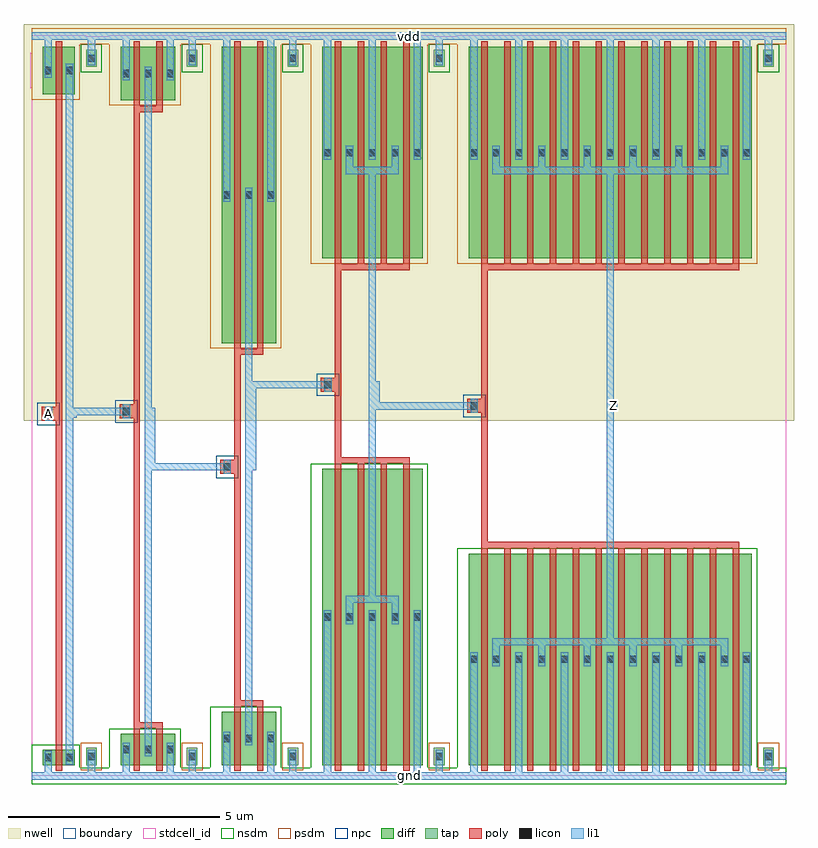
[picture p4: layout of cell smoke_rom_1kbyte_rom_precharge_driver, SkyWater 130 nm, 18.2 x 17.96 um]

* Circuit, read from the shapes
.subckt smoke_rom_1kbyte_rom_precharge_driver A Z gnd vdd
XM1 smoke_rom_1kbyte_pinv_3_1/A A gnd gnd sky130_fd_pr__nfet_01v8 w=0.36 l=0.15
XM2 smoke_rom_1kbyte_pinv_4_2/A smoke_rom_1kbyte_pinv_3_1/A gnd gnd sky130_fd_pr__nfet_01v8 w=0.74 l=0.15 m=2
XM3 smoke_rom_1kbyte_pinv_5_3/A smoke_rom_1kbyte_pinv_4_2/A gnd gnd sky130_fd_pr__nfet_01v8 w=1.26 l=0.15 m=2
XM4 smoke_rom_1kbyte_pinv_6_4/A smoke_rom_1kbyte_pinv_5_3/A gnd gnd sky130_fd_pr__nfet_01v8 w=7 l=0.15 m=4
XM5 Z smoke_rom_1kbyte_pinv_6_4/A gnd gnd sky130_fd_pr__nfet_01v8 w=5 l=0.15 m=12
XM6 smoke_rom_1kbyte_pinv_3_1/A A vdd vdd sky130_fd_pr__pfet_01v8 w=1.12 l=0.15
XM7 smoke_rom_1kbyte_pinv_4_2/A smoke_rom_1kbyte_pinv_3_1/A vdd vdd sky130_fd_pr__pfet_01v8 w=1.26 l=0.15 m=2
XM8 smoke_rom_1kbyte_pinv_5_3/A smoke_rom_1kbyte_pinv_4_2/A vdd vdd sky130_fd_pr__pfet_01v8 w=7 l=0.15 m=2
XM9 smoke_rom_1kbyte_pinv_6_4/A smoke_rom_1kbyte_pinv_5_3/A vdd vdd sky130_fd_pr__pfet_01v8 w=5 l=0.15 m=4
XM10 Z smoke_rom_1kbyte_pinv_6_4/A vdd vdd sky130_fd_pr__pfet_01v8 w=5 l=0.15 m=12
.ends

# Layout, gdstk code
import gdstk
lib = gdstk.Library(unit=1e-6, precision=1e-09)
def R(c, l, rs):  # rectangles x0, y0, x1, y1
    for r in rs: c.add(gdstk.rectangle(r[:2], r[2:], *l))
def A(c, l, x, y, w, h, nx, ny, dx, dy):  # array of equal rectangles
    R(c, l, [(x+i*dx, y+j*dy, x+i*dx+w, y+j*dy+h) for i in range(nx) for j in range(ny)])
nwell = (64, 20)
diff = (65, 20)
tap = (65, 44)
poly = (66, 20)
licon = (66, 44)
li1 = (67, 20)
stdcell_id = (81, 4)
nsdm = (93, 44)
psdm = (94, 20)
npc = (95, 20)
boundary = (235, 4)

smoke_rom_1kbyte_contact = lib.new_cell('smoke_rom_1kbyte_contact_10')
R(smoke_rom_1kbyte_contact, nwell, [(-0.295,-0.255,0.545,0.585)])
R(smoke_rom_1kbyte_contact, diff, [(0,0.02,0.25,0.31)])
R(smoke_rom_1kbyte_contact, licon, [(0.04,0.08,0.21,0.25)])
R(smoke_rom_1kbyte_contact, li1, [(0.04,0,0.21,0.33)])
R(smoke_rom_1kbyte_contact, stdcell_id, [(-0.295,-0.255,0.545,0.585)])
R(smoke_rom_1kbyte_contact, psdm, [(-0.125,-0.105,0.375,0.435)])
R(smoke_rom_1kbyte_contact, boundary, [(-0.295,-0.255,0.545,0.585)])

smoke_rom_1kbyte_pmos_m1 = lib.new_cell('smoke_rom_1kbyte_pmos_m1_w1_120_sli_dli_da_p')
R(smoke_rom_1kbyte_pmos_m1, nwell, [(-0.27,-0.27,1.02,1.39)])
R(smoke_rom_1kbyte_pmos_m1, diff, [(0,0,0.75,1.12)])
R(smoke_rom_1kbyte_pmos_m1, poly, [(0.3,-0.13,0.45,1.25), (0.3,-0.13,0.45,1.25)])
R(smoke_rom_1kbyte_pmos_m1, li1, [(0.04,0.395,0.21,0.725), (0.54,0.395,0.71,0.725)])
R(smoke_rom_1kbyte_pmos_m1, stdcell_id, [(-0.27,-0.27,1.02,1.39)])
R(smoke_rom_1kbyte_pmos_m1, psdm, [(-0.125,-0.125,0.875,1.245)])
R(smoke_rom_1kbyte_pmos_m1, boundary, [(-0.27,-0.27,1.02,1.39)])
smoke_rom_1kbyte_pmos_m1.add(gdstk.Reference(smoke_rom_1kbyte_contact, (0,0.395)))
smoke_rom_1kbyte_pmos_m1.add(gdstk.Reference(smoke_rom_1kbyte_contact, (0.5,0.395)))
smoke_rom_1kbyte_pmos_m1.add(gdstk.Label('G', (0.375,0.56), layer=66, texttype=5))
smoke_rom_1kbyte_pmos_m1.add(gdstk.Label('S', (0.125,0.56), layer=67, texttype=5))
smoke_rom_1kbyte_pmos_m1.add(gdstk.Label('D', (0.625,0.56), layer=67, texttype=5))

c_smoke_rom_1kbyte_contact = lib.new_cell('smoke_rom_1kbyte_contact_8')
R(c_smoke_rom_1kbyte_contact, diff, [(0,0.02,0.25,0.31)])
R(c_smoke_rom_1kbyte_contact, licon, [(0.04,0.08,0.21,0.25)])
R(c_smoke_rom_1kbyte_contact, li1, [(0.04,0,0.21,0.33)])
R(c_smoke_rom_1kbyte_contact, stdcell_id, [(-0.125,-0.105,0.375,0.435)])
R(c_smoke_rom_1kbyte_contact, nsdm, [(-0.125,-0.105,0.375,0.435)])
R(c_smoke_rom_1kbyte_contact, boundary, [(-0.125,-0.105,0.375,0.435)])

smoke_rom_1kbyte_nmos_m1 = lib.new_cell('smoke_rom_1kbyte_nmos_m1_w0_360_sli_dli_da_p')
R(smoke_rom_1kbyte_nmos_m1, diff, [(0,0,0.75,0.36)])
R(smoke_rom_1kbyte_nmos_m1, poly, [(0.3,-0.13,0.45,0.49), (0.3,-0.13,0.45,0.49)])
R(smoke_rom_1kbyte_nmos_m1, li1, [(0.04,0.015,0.21,0.345), (0.54,0.015,0.71,0.345)])
R(smoke_rom_1kbyte_nmos_m1, stdcell_id, [(-0.125,-0.13,0.875,0.49)])
R(smoke_rom_1kbyte_nmos_m1, nsdm, [(-0.125,-0.125,0.875,0.485)])
R(smoke_rom_1kbyte_nmos_m1, boundary, [(-0.125,-0.13,0.875,0.49)])
smoke_rom_1kbyte_nmos_m1.add(gdstk.Reference(c_smoke_rom_1kbyte_contact, (0,0.015)))
smoke_rom_1kbyte_nmos_m1.add(gdstk.Reference(c_smoke_rom_1kbyte_contact, (0.5,0.015)))
smoke_rom_1kbyte_nmos_m1.add(gdstk.Label('G', (0.375,0.18), layer=66, texttype=5))
smoke_rom_1kbyte_nmos_m1.add(gdstk.Label('S', (0.125,0.18), layer=67, texttype=5))
smoke_rom_1kbyte_nmos_m1.add(gdstk.Label('D', (0.625,0.18), layer=67, texttype=5))

c_smoke_rom_1kbyte_contact_ = lib.new_cell('smoke_rom_1kbyte_contact_26')
R(c_smoke_rom_1kbyte_contact_, nwell, [(-0.295,-0.215,0.545,0.625)])
R(c_smoke_rom_1kbyte_contact_, tap, [(0,0,0.25,0.41)])
R(c_smoke_rom_1kbyte_contact_, licon, [(0.04,0.12,0.21,0.29)])
R(c_smoke_rom_1kbyte_contact_, li1, [(0.04,0.04,0.21,0.37)])
R(c_smoke_rom_1kbyte_contact_, stdcell_id, [(-0.295,-0.215,0.545,0.625)])
R(c_smoke_rom_1kbyte_contact_, nsdm, [(-0.125,-0.125,0.375,0.535)])
R(c_smoke_rom_1kbyte_contact_, boundary, [(-0.295,-0.215,0.545,0.625)])

c_smoke_rom_1kbyte_contact__ = lib.new_cell('smoke_rom_1kbyte_contact_27')
R(c_smoke_rom_1kbyte_contact__, tap, [(0,0,0.25,0.41)])
R(c_smoke_rom_1kbyte_contact__, licon, [(0.04,0.12,0.21,0.29)])
R(c_smoke_rom_1kbyte_contact__, li1, [(0.04,0.04,0.21,0.37)])
R(c_smoke_rom_1kbyte_contact__, stdcell_id, [(-0.125,-0.125,0.375,0.535)])
R(c_smoke_rom_1kbyte_contact__, psdm, [(-0.125,-0.125,0.375,0.535)])
R(c_smoke_rom_1kbyte_contact__, boundary, [(-0.125,-0.125,0.375,0.535)])

c_smoke_rom_1kbyte_contact___ = lib.new_cell('smoke_rom_1kbyte_contact_11')
R(c_smoke_rom_1kbyte_contact___, poly, [(0,0,0.33,0.33)])
R(c_smoke_rom_1kbyte_contact___, licon, [(0.08,0.08,0.25,0.25)])
R(c_smoke_rom_1kbyte_contact___, li1, [(0.08,0,0.25,0.33)])
R(c_smoke_rom_1kbyte_contact___, stdcell_id, [(-0.1,-0.1,0.43,0.43)])
R(c_smoke_rom_1kbyte_contact___, npc, [(-0.1,-0.1,0.43,0.43)])
R(c_smoke_rom_1kbyte_contact___, boundary, [(-0.1,-0.1,0.43,0.43)])

smoke_rom_1kbyte_pinv = lib.new_cell('smoke_rom_1kbyte_pinv')
R(smoke_rom_1kbyte_pinv, nwell, [(-0.18,8.39,2.02,17.77)])
R(smoke_rom_1kbyte_pinv, poly, [(0.57,0.745,0.72,15.98), (0.405,8.39,0.57,8.72)])
R(smoke_rom_1kbyte_pinv, li1, [(0,-0.085,1.84,0.085), (0.31,-0.085,0.48,0.27), (1.33,0,1.5,0.46), (0.81,0.27,0.98,16.835), (0.32,8.39,0.49,8.72), (0.895,8.47,1.065,8.64), (0.31,16.505,0.48,17.57), (1.33,16.96,1.5,17.48), (0,17.4,1.84,17.57)])
R(smoke_rom_1kbyte_pinv, stdcell_id, [(0,0,1.84,17.48), (0,0,1.84,17.48)])
R(smoke_rom_1kbyte_pinv, nsdm, [(0,-0.19,1.84,0.19), (0,0,1.145,0.74)])
R(smoke_rom_1kbyte_pinv, psdm, [(0,15.985,1.145,17.485), (0,17.29,1.84,17.67)])
R(smoke_rom_1kbyte_pinv, boundary, [(0,0,1.84,17.48), (0,0,1.84,17.48)])
smoke_rom_1kbyte_pinv.add(gdstk.Reference(smoke_rom_1kbyte_pmos_m1, (0.27,16.11)))
smoke_rom_1kbyte_pinv.add(gdstk.Reference(smoke_rom_1kbyte_nmos_m1, (0.27,0.255)))
smoke_rom_1kbyte_pinv.add(gdstk.Reference(c_smoke_rom_1kbyte_contact_, (1.29,16.755)))
smoke_rom_1kbyte_pinv.add(gdstk.Reference(c_smoke_rom_1kbyte_contact__, (1.29,0.255)))
smoke_rom_1kbyte_pinv.add(gdstk.Reference(c_smoke_rom_1kbyte_contact___, (0.24,8.39)))
smoke_rom_1kbyte_pinv.add(gdstk.Label('A', (0.405,8.555), layer=67, texttype=5))
smoke_rom_1kbyte_pinv.add(gdstk.Label('Z', (0.98,8.555), layer=67, texttype=5))
smoke_rom_1kbyte_pinv.add(gdstk.Label('gnd', (0.92,0), layer=67, texttype=5))
smoke_rom_1kbyte_pinv.add(gdstk.Label('vdd', (0.92,17.485), layer=67, texttype=5))

smoke_rom_1kbyte_pmos_m2 = lib.new_cell('smoke_rom_1kbyte_pmos_m2_w1_260_sli_dli_da_p')
R(smoke_rom_1kbyte_pmos_m2, nwell, [(-0.27,-0.27,1.56,1.53)])
R(smoke_rom_1kbyte_pmos_m2, diff, [(0,0,1.29,1.26)])
R(smoke_rom_1kbyte_pmos_m2, poly, [(0.3,-0.28,0.99,-0.13), (0.3,-0.13,0.45,1.39), (0.84,-0.13,0.99,1.39)])
A(smoke_rom_1kbyte_pmos_m2, li1, 0.04, 0.465, 0.17, 0.33, 3, 1, 0.52, 0)
R(smoke_rom_1kbyte_pmos_m2, stdcell_id, [(-0.27,-0.28,1.56,1.53)])
R(smoke_rom_1kbyte_pmos_m2, psdm, [(-0.125,-0.125,1.415,1.385)])
R(smoke_rom_1kbyte_pmos_m2, boundary, [(-0.27,-0.28,1.56,1.53)])
smoke_rom_1kbyte_pmos_m2.add(gdstk.Reference(smoke_rom_1kbyte_contact, (0,0.465)))
smoke_rom_1kbyte_pmos_m2.add(gdstk.Reference(smoke_rom_1kbyte_contact, (0.52,0.465)))
smoke_rom_1kbyte_pmos_m2.add(gdstk.Reference(smoke_rom_1kbyte_contact, (1.04,0.465)))
smoke_rom_1kbyte_pmos_m2.add(gdstk.Label('G', (0.645,-0.205), layer=66, texttype=5))
smoke_rom_1kbyte_pmos_m2.add(gdstk.Label('S', (1.165,0.63), layer=67, texttype=5))
smoke_rom_1kbyte_pmos_m2.add(gdstk.Label('S', (0.125,0.63), layer=67, texttype=5))
smoke_rom_1kbyte_pmos_m2.add(gdstk.Label('D', (0.645,0.63), layer=67, texttype=5))

smoke_rom_1kbyte_nmos_m2 = lib.new_cell('smoke_rom_1kbyte_nmos_m2_w0_740_sli_dli_da_p')
R(smoke_rom_1kbyte_nmos_m2, diff, [(0,0,1.29,0.74)])
R(smoke_rom_1kbyte_nmos_m2, poly, [(0.3,-0.13,0.45,0.87), (0.84,-0.13,0.99,0.87), (0.3,0.87,0.99,1.02)])
A(smoke_rom_1kbyte_nmos_m2, li1, 0.04, 0.205, 0.17, 0.33, 3, 1, 0.52, 0)
R(smoke_rom_1kbyte_nmos_m2, stdcell_id, [(-0.125,-0.13,1.415,1.02)])
R(smoke_rom_1kbyte_nmos_m2, nsdm, [(-0.125,-0.125,1.415,0.865)])
R(smoke_rom_1kbyte_nmos_m2, boundary, [(-0.125,-0.13,1.415,1.02)])
smoke_rom_1kbyte_nmos_m2.add(gdstk.Reference(c_smoke_rom_1kbyte_contact, (0,0.205)))
smoke_rom_1kbyte_nmos_m2.add(gdstk.Reference(c_smoke_rom_1kbyte_contact, (0.52,0.205)))
smoke_rom_1kbyte_nmos_m2.add(gdstk.Reference(c_smoke_rom_1kbyte_contact, (1.04,0.205)))
smoke_rom_1kbyte_nmos_m2.add(gdstk.Label('G', (0.645,0.945), layer=66, texttype=5))
smoke_rom_1kbyte_nmos_m2.add(gdstk.Label('S', (1.165,0.37), layer=67, texttype=5))
smoke_rom_1kbyte_nmos_m2.add(gdstk.Label('S', (0.125,0.37), layer=67, texttype=5))
smoke_rom_1kbyte_nmos_m2.add(gdstk.Label('D', (0.645,0.37), layer=67, texttype=5))

smoke_rom_1kbyte_pinv_3 = lib.new_cell('smoke_rom_1kbyte_pinv_3')
R(smoke_rom_1kbyte_pinv_3, nwell, [(-0.18,8.39,2.56,17.77)])
R(smoke_rom_1kbyte_pinv_3, poly, [(0.57,1.275,0.72,15.69), (0.405,8.45,0.57,8.78)])
R(smoke_rom_1kbyte_pinv_3, li1, [(0,-0.085,2.38,0.085), (0.31,-0.085,0.48,0.46), (1.35,-0.085,1.52,0.46), (1.87,0,2.04,0.46), (0.83,0.46,1,16.765), (0.32,8.45,0.49,8.78), (0.915,8.53,1.085,8.7), (0.31,16.435,0.48,17.57), (1.35,16.435,1.52,17.57), (1.87,16.96,2.04,17.48), (0,17.4,2.38,17.57)])
R(smoke_rom_1kbyte_pinv_3, stdcell_id, [(0,0,2.38,17.48), (0,0,2.38,17.48)])
R(smoke_rom_1kbyte_pinv_3, nsdm, [(0,-0.19,2.38,0.19), (0,0,1.685,1.12)])
R(smoke_rom_1kbyte_pinv_3, psdm, [(0,15.845,1.685,17.485), (0,17.29,2.38,17.67)])
R(smoke_rom_1kbyte_pinv_3, boundary, [(0,0,2.38,17.48), (0,0,2.38,17.48)])
smoke_rom_1kbyte_pinv_3.add(gdstk.Reference(smoke_rom_1kbyte_pmos_m2, (0.27,15.97)))
smoke_rom_1kbyte_pinv_3.add(gdstk.Reference(smoke_rom_1kbyte_nmos_m2, (0.27,0.255)))
smoke_rom_1kbyte_pinv_3.add(gdstk.Reference(c_smoke_rom_1kbyte_contact_, (1.83,16.755)))
smoke_rom_1kbyte_pinv_3.add(gdstk.Reference(c_smoke_rom_1kbyte_contact__, (1.83,0.255)))
smoke_rom_1kbyte_pinv_3.add(gdstk.Reference(c_smoke_rom_1kbyte_contact___, (0.24,8.45)))
smoke_rom_1kbyte_pinv_3.add(gdstk.Label('A', (0.405,8.615), layer=67, texttype=5))
smoke_rom_1kbyte_pinv_3.add(gdstk.Label('Z', (1,8.615), layer=67, texttype=5))
smoke_rom_1kbyte_pinv_3.add(gdstk.Label('gnd', (1.19,0), layer=67, texttype=5))
smoke_rom_1kbyte_pinv_3.add(gdstk.Label('vdd', (1.19,17.485), layer=67, texttype=5))

c_smoke_rom_1kbyte_pmos_m2 = lib.new_cell('smoke_rom_1kbyte_pmos_m2_w7_000_sli_dli_da_p')
R(c_smoke_rom_1kbyte_pmos_m2, nwell, [(-0.27,-0.27,1.56,7.27)])
R(c_smoke_rom_1kbyte_pmos_m2, diff, [(0,0,1.29,7)])
R(c_smoke_rom_1kbyte_pmos_m2, poly, [(0.3,-0.28,0.99,-0.13), (0.3,-0.13,0.45,7.13), (0.84,-0.13,0.99,7.13)])
A(c_smoke_rom_1kbyte_pmos_m2, li1, 0.04, 3.335, 0.17, 0.33, 3, 1, 0.52, 0)
R(c_smoke_rom_1kbyte_pmos_m2, stdcell_id, [(-0.27,-0.28,1.56,7.27)])
R(c_smoke_rom_1kbyte_pmos_m2, psdm, [(-0.125,-0.125,1.415,7.125)])
R(c_smoke_rom_1kbyte_pmos_m2, boundary, [(-0.27,-0.28,1.56,7.27)])
c_smoke_rom_1kbyte_pmos_m2.add(gdstk.Reference(smoke_rom_1kbyte_contact, (0,3.335)))
c_smoke_rom_1kbyte_pmos_m2.add(gdstk.Reference(smoke_rom_1kbyte_contact, (0.52,3.335)))
c_smoke_rom_1kbyte_pmos_m2.add(gdstk.Reference(smoke_rom_1kbyte_contact, (1.04,3.335)))
c_smoke_rom_1kbyte_pmos_m2.add(gdstk.Label('G', (0.645,-0.205), layer=66, texttype=5))
c_smoke_rom_1kbyte_pmos_m2.add(gdstk.Label('S', (1.165,3.5), layer=67, texttype=5))
c_smoke_rom_1kbyte_pmos_m2.add(gdstk.Label('S', (0.125,3.5), layer=67, texttype=5))
c_smoke_rom_1kbyte_pmos_m2.add(gdstk.Label('D', (0.645,3.5), layer=67, texttype=5))

c_smoke_rom_1kbyte_nmos_m2 = lib.new_cell('smoke_rom_1kbyte_nmos_m2_w1_260_sli_dli_da_p')
R(c_smoke_rom_1kbyte_nmos_m2, diff, [(0,0,1.29,1.26)])
R(c_smoke_rom_1kbyte_nmos_m2, poly, [(0.3,-0.13,0.45,1.39), (0.84,-0.13,0.99,1.39), (0.3,1.39,0.99,1.54)])
A(c_smoke_rom_1kbyte_nmos_m2, li1, 0.04, 0.465, 0.17, 0.33, 3, 1, 0.52, 0)
R(c_smoke_rom_1kbyte_nmos_m2, stdcell_id, [(-0.125,-0.13,1.415,1.54)])
R(c_smoke_rom_1kbyte_nmos_m2, nsdm, [(-0.125,-0.125,1.415,1.385)])
R(c_smoke_rom_1kbyte_nmos_m2, boundary, [(-0.125,-0.13,1.415,1.54)])
c_smoke_rom_1kbyte_nmos_m2.add(gdstk.Reference(c_smoke_rom_1kbyte_contact, (0,0.465)))
c_smoke_rom_1kbyte_nmos_m2.add(gdstk.Reference(c_smoke_rom_1kbyte_contact, (0.52,0.465)))
c_smoke_rom_1kbyte_nmos_m2.add(gdstk.Reference(c_smoke_rom_1kbyte_contact, (1.04,0.465)))
c_smoke_rom_1kbyte_nmos_m2.add(gdstk.Label('G', (0.645,1.465), layer=66, texttype=5))
c_smoke_rom_1kbyte_nmos_m2.add(gdstk.Label('S', (1.165,0.63), layer=67, texttype=5))
c_smoke_rom_1kbyte_nmos_m2.add(gdstk.Label('S', (0.125,0.63), layer=67, texttype=5))
c_smoke_rom_1kbyte_nmos_m2.add(gdstk.Label('D', (0.645,0.63), layer=67, texttype=5))

smoke_rom_1kbyte_pinv_4 = lib.new_cell('smoke_rom_1kbyte_pinv_4')
R(smoke_rom_1kbyte_pinv_4, nwell, [(-0.18,8.39,2.56,17.77)])
R(smoke_rom_1kbyte_pinv_4, poly, [(0.57,1.795,0.72,9.95), (0.405,7.14,0.57,7.47)])
R(smoke_rom_1kbyte_pinv_4, li1, [(0,-0.085,2.38,0.085), (0.31,-0.085,0.48,0.72), (1.35,-0.085,1.52,0.72), (1.87,0,2.04,0.46), (0.83,0.72,1,13.895), (0.32,7.14,0.49,7.47), (0.915,7.22,1.085,7.39), (0.31,13.565,0.48,17.57), (1.35,13.565,1.52,17.57), (1.87,16.96,2.04,17.48), (0,17.4,2.38,17.57)])
R(smoke_rom_1kbyte_pinv_4, stdcell_id, [(0,0,2.38,17.48), (0,0,2.38,17.48)])
R(smoke_rom_1kbyte_pinv_4, nsdm, [(0,-0.19,2.38,0.19), (0,0,1.685,1.64)])
R(smoke_rom_1kbyte_pinv_4, psdm, [(0,10.105,1.685,17.485), (0,17.29,2.38,17.67)])
R(smoke_rom_1kbyte_pinv_4, boundary, [(0,0,2.38,17.48), (0,0,2.38,17.48)])
smoke_rom_1kbyte_pinv_4.add(gdstk.Reference(c_smoke_rom_1kbyte_pmos_m2, (0.27,10.23)))
smoke_rom_1kbyte_pinv_4.add(gdstk.Reference(c_smoke_rom_1kbyte_nmos_m2, (0.27,0.255)))
smoke_rom_1kbyte_pinv_4.add(gdstk.Reference(c_smoke_rom_1kbyte_contact_, (1.83,16.755)))
smoke_rom_1kbyte_pinv_4.add(gdstk.Reference(c_smoke_rom_1kbyte_contact__, (1.83,0.255)))
smoke_rom_1kbyte_pinv_4.add(gdstk.Reference(c_smoke_rom_1kbyte_contact___, (0.24,7.14)))
smoke_rom_1kbyte_pinv_4.add(gdstk.Label('A', (0.405,7.305), layer=67, texttype=5))
smoke_rom_1kbyte_pinv_4.add(gdstk.Label('Z', (1,7.305), layer=67, texttype=5))
smoke_rom_1kbyte_pinv_4.add(gdstk.Label('gnd', (1.19,0), layer=67, texttype=5))
smoke_rom_1kbyte_pinv_4.add(gdstk.Label('vdd', (1.19,17.485), layer=67, texttype=5))

smoke_rom_1kbyte_pmos_m4 = lib.new_cell('smoke_rom_1kbyte_pmos_m4_w5_000_sli_dli_da_p')
R(smoke_rom_1kbyte_pmos_m4, nwell, [(-0.27,-0.27,2.64,5.27)])
R(smoke_rom_1kbyte_pmos_m4, diff, [(0,0,2.37,5)])
A(smoke_rom_1kbyte_pmos_m4, poly, 0.3, -0.13, 0.15, 5.26, 4, 1, 0.54, 0)
R(smoke_rom_1kbyte_pmos_m4, poly, [(0.3,-0.28,2.07,-0.13)])
A(smoke_rom_1kbyte_pmos_m4, li1, 0.04, 2.335, 0.17, 0.33, 3, 1, 1.06, 0)
R(smoke_rom_1kbyte_pmos_m4, li1, [(0.56,1.995,1.81,2.165), (0.56,2.08,0.73,2.5), (1.64,2.08,1.81,2.5)])
R(smoke_rom_1kbyte_pmos_m4, stdcell_id, [(-0.27,-0.28,2.64,5.27)])
R(smoke_rom_1kbyte_pmos_m4, psdm, [(-0.125,-0.125,2.495,5.125)])
R(smoke_rom_1kbyte_pmos_m4, boundary, [(-0.27,-0.28,2.64,5.27)])
smoke_rom_1kbyte_pmos_m4.add(gdstk.Reference(smoke_rom_1kbyte_contact, (0,2.335)))
smoke_rom_1kbyte_pmos_m4.add(gdstk.Reference(smoke_rom_1kbyte_contact, (0.52,2.335)))
smoke_rom_1kbyte_pmos_m4.add(gdstk.Reference(smoke_rom_1kbyte_contact, (1.06,2.335)))
smoke_rom_1kbyte_pmos_m4.add(gdstk.Reference(smoke_rom_1kbyte_contact, (1.6,2.335)))
smoke_rom_1kbyte_pmos_m4.add(gdstk.Reference(smoke_rom_1kbyte_contact, (2.12,2.335)))
smoke_rom_1kbyte_pmos_m4.add(gdstk.Label('G', (1.185,-0.205), layer=66, texttype=5))
smoke_rom_1kbyte_pmos_m4.add(gdstk.Label('S', (1.185,2.5), layer=67, texttype=5))
smoke_rom_1kbyte_pmos_m4.add(gdstk.Label('S', (2.245,2.5), layer=67, texttype=5))
smoke_rom_1kbyte_pmos_m4.add(gdstk.Label('S', (0.125,2.5), layer=67, texttype=5))
smoke_rom_1kbyte_pmos_m4.add(gdstk.Label('D', (1.185,2.08), layer=67, texttype=5))

smoke_rom_1kbyte_nmos_m4 = lib.new_cell('smoke_rom_1kbyte_nmos_m4_w7_000_sli_dli_da_p')
R(smoke_rom_1kbyte_nmos_m4, diff, [(0,0,2.37,7)])
A(smoke_rom_1kbyte_nmos_m4, poly, 0.3, -0.13, 0.15, 7.26, 4, 1, 0.54, 0)
R(smoke_rom_1kbyte_nmos_m4, poly, [(0.3,7.13,2.07,7.28)])
A(smoke_rom_1kbyte_nmos_m4, li1, 0.04, 3.335, 0.17, 0.33, 3, 1, 1.06, 0)
R(smoke_rom_1kbyte_nmos_m4, li1, [(0.56,3.5,0.73,3.92), (1.64,3.5,1.81,3.92), (0.56,3.835,1.81,4.005)])
R(smoke_rom_1kbyte_nmos_m4, stdcell_id, [(-0.125,-0.13,2.495,7.28)])
R(smoke_rom_1kbyte_nmos_m4, nsdm, [(-0.125,-0.125,2.495,7.125)])
R(smoke_rom_1kbyte_nmos_m4, boundary, [(-0.125,-0.13,2.495,7.28)])
smoke_rom_1kbyte_nmos_m4.add(gdstk.Reference(c_smoke_rom_1kbyte_contact, (0,3.335)))
smoke_rom_1kbyte_nmos_m4.add(gdstk.Reference(c_smoke_rom_1kbyte_contact, (0.52,3.335)))
smoke_rom_1kbyte_nmos_m4.add(gdstk.Reference(c_smoke_rom_1kbyte_contact, (1.06,3.335)))
smoke_rom_1kbyte_nmos_m4.add(gdstk.Reference(c_smoke_rom_1kbyte_contact, (1.6,3.335)))
smoke_rom_1kbyte_nmos_m4.add(gdstk.Reference(c_smoke_rom_1kbyte_contact, (2.12,3.335)))
smoke_rom_1kbyte_nmos_m4.add(gdstk.Label('G', (1.185,7.205), layer=66, texttype=5))
smoke_rom_1kbyte_nmos_m4.add(gdstk.Label('S', (2.245,3.5), layer=67, texttype=5))
smoke_rom_1kbyte_nmos_m4.add(gdstk.Label('S', (1.185,3.5), layer=67, texttype=5))
smoke_rom_1kbyte_nmos_m4.add(gdstk.Label('S', (0.125,3.5), layer=67, texttype=5))
smoke_rom_1kbyte_nmos_m4.add(gdstk.Label('D', (1.185,3.92), layer=67, texttype=5))

smoke_rom_1kbyte_pinv_5 = lib.new_cell('smoke_rom_1kbyte_pinv_5')
R(smoke_rom_1kbyte_pinv_5, nwell, [(-0.18,8.39,3.64,17.77)])
R(smoke_rom_1kbyte_pinv_5, poly, [(0.57,7.535,0.72,11.95), (0.405,9.08,0.57,9.41)])
A(smoke_rom_1kbyte_pinv_5, li1, 0.31, -0.085, 0.17, 3.675, 3, 1, 1.06, 0)
A(smoke_rom_1kbyte_pinv_5, li1, 0.31, 14.565, 0.17, 3.005, 3, 1, 1.06, 0)
R(smoke_rom_1kbyte_pinv_5, li1, [(0,-0.085,3.46,0.085), (2.95,0,3.12,0.46), (1.37,4.09,1.54,14.395), (0.32,9.08,0.49,9.41), (1.455,9.16,1.625,9.33), (2.95,16.96,3.12,17.48), (0,17.4,3.46,17.57)])
R(smoke_rom_1kbyte_pinv_5, stdcell_id, [(0,0,3.46,17.48), (0,0,3.46,17.48)])
R(smoke_rom_1kbyte_pinv_5, nsdm, [(0,-0.19,3.46,0.19), (0,0,2.765,7.38)])
R(smoke_rom_1kbyte_pinv_5, psdm, [(0,12.105,2.765,17.485), (0,17.29,3.46,17.67)])
R(smoke_rom_1kbyte_pinv_5, boundary, [(0,0,3.46,17.48), (0,0,3.46,17.48)])
smoke_rom_1kbyte_pinv_5.add(gdstk.Reference(smoke_rom_1kbyte_pmos_m4, (0.27,12.23)))
smoke_rom_1kbyte_pinv_5.add(gdstk.Reference(smoke_rom_1kbyte_nmos_m4, (0.27,0.255)))
smoke_rom_1kbyte_pinv_5.add(gdstk.Reference(c_smoke_rom_1kbyte_contact_, (2.91,16.755)))
smoke_rom_1kbyte_pinv_5.add(gdstk.Reference(c_smoke_rom_1kbyte_contact__, (2.91,0.255)))
smoke_rom_1kbyte_pinv_5.add(gdstk.Reference(c_smoke_rom_1kbyte_contact___, (0.24,9.08)))
smoke_rom_1kbyte_pinv_5.add(gdstk.Label('A', (0.405,9.245), layer=67, texttype=5))
smoke_rom_1kbyte_pinv_5.add(gdstk.Label('Z', (1.54,9.245), layer=67, texttype=5))
smoke_rom_1kbyte_pinv_5.add(gdstk.Label('gnd', (1.73,0), layer=67, texttype=5))
smoke_rom_1kbyte_pinv_5.add(gdstk.Label('vdd', (1.73,17.485), layer=67, texttype=5))

c_smoke_rom_1kbyte_pmos_m1 = lib.new_cell('smoke_rom_1kbyte_pmos_m12_w5_000_sli_dli_da_p')
R(c_smoke_rom_1kbyte_pmos_m1, nwell, [(-0.27,-0.27,6.96,5.27)])
R(c_smoke_rom_1kbyte_pmos_m1, diff, [(0,0,6.69,5)])
A(c_smoke_rom_1kbyte_pmos_m1, poly, 0.3, -0.13, 0.15, 5.26, 12, 1, 0.54, 0)
R(c_smoke_rom_1kbyte_pmos_m1, poly, [(0.3,-0.28,6.39,-0.13)])
A(c_smoke_rom_1kbyte_pmos_m1, li1, 0.56, 2.08, 0.17, 0.42, 6, 1, 1.08, 0)
A(c_smoke_rom_1kbyte_pmos_m1, li1, 1.1, 2.335, 0.17, 0.33, 5, 1, 1.08, 0)
R(c_smoke_rom_1kbyte_pmos_m1, li1, [(0.56,1.995,6.13,2.165), (0.04,2.335,0.21,2.665), (6.48,2.335,6.65,2.665)])
R(c_smoke_rom_1kbyte_pmos_m1, stdcell_id, [(-0.27,-0.28,6.96,5.27)])
R(c_smoke_rom_1kbyte_pmos_m1, psdm, [(-0.125,-0.125,6.815,5.125)])
R(c_smoke_rom_1kbyte_pmos_m1, boundary, [(-0.27,-0.28,6.96,5.27)])
c_smoke_rom_1kbyte_pmos_m1.add(gdstk.Reference(smoke_rom_1kbyte_contact, (0,2.335)))
c_smoke_rom_1kbyte_pmos_m1.add(gdstk.Reference(smoke_rom_1kbyte_contact, (0.52,2.335)))
c_smoke_rom_1kbyte_pmos_m1.add(gdstk.Reference(smoke_rom_1kbyte_contact, (1.06,2.335)))
c_smoke_rom_1kbyte_pmos_m1.add(gdstk.Reference(smoke_rom_1kbyte_contact, (1.6,2.335)))
c_smoke_rom_1kbyte_pmos_m1.add(gdstk.Reference(smoke_rom_1kbyte_contact, (2.14,2.335)))
c_smoke_rom_1kbyte_pmos_m1.add(gdstk.Reference(smoke_rom_1kbyte_contact, (2.68,2.335)))
c_smoke_rom_1kbyte_pmos_m1.add(gdstk.Reference(smoke_rom_1kbyte_contact, (3.22,2.335)))
c_smoke_rom_1kbyte_pmos_m1.add(gdstk.Reference(smoke_rom_1kbyte_contact, (3.76,2.335)))
c_smoke_rom_1kbyte_pmos_m1.add(gdstk.Reference(smoke_rom_1kbyte_contact, (4.3,2.335)))
c_smoke_rom_1kbyte_pmos_m1.add(gdstk.Reference(smoke_rom_1kbyte_contact, (4.84,2.335)))
c_smoke_rom_1kbyte_pmos_m1.add(gdstk.Reference(smoke_rom_1kbyte_contact, (5.38,2.335)))
c_smoke_rom_1kbyte_pmos_m1.add(gdstk.Reference(smoke_rom_1kbyte_contact, (5.92,2.335)))
c_smoke_rom_1kbyte_pmos_m1.add(gdstk.Reference(smoke_rom_1kbyte_contact, (6.44,2.335)))
c_smoke_rom_1kbyte_pmos_m1.add(gdstk.Label('G', (3.345,-0.205), layer=66, texttype=5))
c_smoke_rom_1kbyte_pmos_m1.add(gdstk.Label('S', (3.345,2.5), layer=67, texttype=5))
c_smoke_rom_1kbyte_pmos_m1.add(gdstk.Label('S', (5.505,2.5), layer=67, texttype=5))
c_smoke_rom_1kbyte_pmos_m1.add(gdstk.Label('S', (1.185,2.5), layer=67, texttype=5))
c_smoke_rom_1kbyte_pmos_m1.add(gdstk.Label('S', (4.425,2.5), layer=67, texttype=5))
c_smoke_rom_1kbyte_pmos_m1.add(gdstk.Label('S', (6.565,2.5), layer=67, texttype=5))
c_smoke_rom_1kbyte_pmos_m1.add(gdstk.Label('S', (2.265,2.5), layer=67, texttype=5))
c_smoke_rom_1kbyte_pmos_m1.add(gdstk.Label('S', (0.125,2.5), layer=67, texttype=5))
c_smoke_rom_1kbyte_pmos_m1.add(gdstk.Label('D', (3.345,2.08), layer=67, texttype=5))

c_smoke_rom_1kbyte_nmos_m1 = lib.new_cell('smoke_rom_1kbyte_nmos_m12_w5_000_sli_dli_da_p')
R(c_smoke_rom_1kbyte_nmos_m1, diff, [(0,0,6.69,5)])
A(c_smoke_rom_1kbyte_nmos_m1, poly, 0.3, -0.13, 0.15, 5.26, 12, 1, 0.54, 0)
R(c_smoke_rom_1kbyte_nmos_m1, poly, [(0.3,5.13,6.39,5.28)])
A(c_smoke_rom_1kbyte_nmos_m1, li1, 1.1, 2.335, 0.17, 0.33, 5, 1, 1.08, 0)
A(c_smoke_rom_1kbyte_nmos_m1, li1, 0.56, 2.5, 0.17, 0.42, 6, 1, 1.08, 0)
R(c_smoke_rom_1kbyte_nmos_m1, li1, [(0.04,2.335,0.21,2.665), (6.48,2.335,6.65,2.665), (0.56,2.835,6.13,3.005)])
R(c_smoke_rom_1kbyte_nmos_m1, stdcell_id, [(-0.125,-0.13,6.815,5.28)])
R(c_smoke_rom_1kbyte_nmos_m1, nsdm, [(-0.125,-0.125,6.815,5.125)])
R(c_smoke_rom_1kbyte_nmos_m1, boundary, [(-0.125,-0.13,6.815,5.28)])
c_smoke_rom_1kbyte_nmos_m1.add(gdstk.Reference(c_smoke_rom_1kbyte_contact, (0,2.335)))
c_smoke_rom_1kbyte_nmos_m1.add(gdstk.Reference(c_smoke_rom_1kbyte_contact, (0.52,2.335)))
c_smoke_rom_1kbyte_nmos_m1.add(gdstk.Reference(c_smoke_rom_1kbyte_contact, (1.06,2.335)))
c_smoke_rom_1kbyte_nmos_m1.add(gdstk.Reference(c_smoke_rom_1kbyte_contact, (1.6,2.335)))
c_smoke_rom_1kbyte_nmos_m1.add(gdstk.Reference(c_smoke_rom_1kbyte_contact, (2.14,2.335)))
c_smoke_rom_1kbyte_nmos_m1.add(gdstk.Reference(c_smoke_rom_1kbyte_contact, (2.68,2.335)))
c_smoke_rom_1kbyte_nmos_m1.add(gdstk.Reference(c_smoke_rom_1kbyte_contact, (3.22,2.335)))
c_smoke_rom_1kbyte_nmos_m1.add(gdstk.Reference(c_smoke_rom_1kbyte_contact, (3.76,2.335)))
c_smoke_rom_1kbyte_nmos_m1.add(gdstk.Reference(c_smoke_rom_1kbyte_contact, (4.3,2.335)))
c_smoke_rom_1kbyte_nmos_m1.add(gdstk.Reference(c_smoke_rom_1kbyte_contact, (4.84,2.335)))
c_smoke_rom_1kbyte_nmos_m1.add(gdstk.Reference(c_smoke_rom_1kbyte_contact, (5.38,2.335)))
c_smoke_rom_1kbyte_nmos_m1.add(gdstk.Reference(c_smoke_rom_1kbyte_contact, (5.92,2.335)))
c_smoke_rom_1kbyte_nmos_m1.add(gdstk.Reference(c_smoke_rom_1kbyte_contact, (6.44,2.335)))
c_smoke_rom_1kbyte_nmos_m1.add(gdstk.Label('G', (3.345,5.205), layer=66, texttype=5))
c_smoke_rom_1kbyte_nmos_m1.add(gdstk.Label('S', (3.345,2.5), layer=67, texttype=5))
c_smoke_rom_1kbyte_nmos_m1.add(gdstk.Label('S', (5.505,2.5), layer=67, texttype=5))
c_smoke_rom_1kbyte_nmos_m1.add(gdstk.Label('S', (1.185,2.5), layer=67, texttype=5))
c_smoke_rom_1kbyte_nmos_m1.add(gdstk.Label('S', (4.425,2.5), layer=67, texttype=5))
c_smoke_rom_1kbyte_nmos_m1.add(gdstk.Label('S', (6.565,2.5), layer=67, texttype=5))
c_smoke_rom_1kbyte_nmos_m1.add(gdstk.Label('S', (2.265,2.5), layer=67, texttype=5))
c_smoke_rom_1kbyte_nmos_m1.add(gdstk.Label('S', (0.125,2.5), layer=67, texttype=5))
c_smoke_rom_1kbyte_nmos_m1.add(gdstk.Label('D', (3.345,2.92), layer=67, texttype=5))

smoke_rom_1kbyte_pinv_6 = lib.new_cell('smoke_rom_1kbyte_pinv_6')
R(smoke_rom_1kbyte_pinv_6, nwell, [(-0.18,8.39,7.96,17.77)])
R(smoke_rom_1kbyte_pinv_6, poly, [(0.57,5.535,0.72,11.95), (0.405,8.58,0.57,8.91)])
A(smoke_rom_1kbyte_pinv_6, li1, 1.37, -0.085, 0.17, 2.675, 5, 1, 1.08, 0)
A(smoke_rom_1kbyte_pinv_6, li1, 1.37, 14.565, 0.17, 3.005, 5, 1, 1.08, 0)
R(smoke_rom_1kbyte_pinv_6, li1, [(0,-0.085,7.78,0.085), (0.31,-0.085,0.48,2.59), (6.75,-0.085,6.92,2.59), (7.27,0,7.44,0.46), (3.53,3.09,3.7,14.395), (0.32,8.58,0.49,8.91), (3.615,8.66,3.785,8.83), (0.31,14.565,0.48,17.57), (6.75,14.565,6.92,17.57), (7.27,16.96,7.44,17.48), (0,17.4,7.78,17.57)])
R(smoke_rom_1kbyte_pinv_6, stdcell_id, [(0,0,7.78,17.48), (0,0,7.78,17.48)])
R(smoke_rom_1kbyte_pinv_6, nsdm, [(0,-0.19,7.78,0.19), (0,0,7.085,5.38)])
R(smoke_rom_1kbyte_pinv_6, psdm, [(0,12.105,7.085,17.485), (0,17.29,7.78,17.67)])
R(smoke_rom_1kbyte_pinv_6, boundary, [(0,0,7.78,17.48), (0,0,7.78,17.48)])
smoke_rom_1kbyte_pinv_6.add(gdstk.Reference(c_smoke_rom_1kbyte_pmos_m1, (0.27,12.23)))
smoke_rom_1kbyte_pinv_6.add(gdstk.Reference(c_smoke_rom_1kbyte_nmos_m1, (0.27,0.255)))
smoke_rom_1kbyte_pinv_6.add(gdstk.Reference(c_smoke_rom_1kbyte_contact_, (7.23,16.755)))
smoke_rom_1kbyte_pinv_6.add(gdstk.Reference(c_smoke_rom_1kbyte_contact__, (7.23,0.255)))
smoke_rom_1kbyte_pinv_6.add(gdstk.Reference(c_smoke_rom_1kbyte_contact___, (0.24,8.58)))
smoke_rom_1kbyte_pinv_6.add(gdstk.Label('A', (0.405,8.745), layer=67, texttype=5))
smoke_rom_1kbyte_pinv_6.add(gdstk.Label('Z', (3.7,8.745), layer=67, texttype=5))
smoke_rom_1kbyte_pinv_6.add(gdstk.Label('gnd', (3.89,0), layer=67, texttype=5))
smoke_rom_1kbyte_pinv_6.add(gdstk.Label('vdd', (3.89,17.485), layer=67, texttype=5))

smoke_rom_1kbyte_rom_pre = lib.new_cell('smoke_rom_1kbyte_rom_precharge_driver')
R(smoke_rom_1kbyte_rom_pre, nwell, [(-0.18,8.39,18.02,17.77)])
R(smoke_rom_1kbyte_rom_pre, li1, [(0,-0.085,17.84,0.085), (2.755,7.22,2.925,7.39), (2.84,7.22,4.625,7.39), (2.755,7.305,2.925,8.615), (5.135,7.305,5.305,9.245), (0.32,8.39,0.49,8.72), (0.895,8.53,1.065,8.7), (0.98,8.53,2.245,8.7), (0.895,8.555,1.065,8.615), (8.055,8.66,8.225,8.83), (8.14,8.66,10.465,8.83), (13.675,8.66,13.845,8.83), (8.055,8.745,8.225,9.245), (5.135,9.16,5.305,9.33), (5.22,9.16,7.005,9.33), (0,17.395,17.84,17.565)])
R(smoke_rom_1kbyte_rom_pre, stdcell_id, [(0,0,17.84,17.48), (0,0,17.84,17.48)])
R(smoke_rom_1kbyte_rom_pre, nsdm, [(0,-0.19,17.84,0.19)])
R(smoke_rom_1kbyte_rom_pre, psdm, [(0,17.29,17.84,17.67)])
R(smoke_rom_1kbyte_rom_pre, boundary, [(0,0,17.84,17.48), (0,0,17.84,17.48)])
smoke_rom_1kbyte_rom_pre.add(gdstk.Reference(smoke_rom_1kbyte_pinv, (0,0)))
smoke_rom_1kbyte_rom_pre.add(gdstk.Reference(smoke_rom_1kbyte_pinv_3, (1.84,0)))
smoke_rom_1kbyte_rom_pre.add(gdstk.Reference(smoke_rom_1kbyte_pinv_4, (4.22,0)))
smoke_rom_1kbyte_rom_pre.add(gdstk.Reference(smoke_rom_1kbyte_pinv_5, (6.6,0)))
smoke_rom_1kbyte_rom_pre.add(gdstk.Reference(smoke_rom_1kbyte_pinv_6, (10.06,0)))
smoke_rom_1kbyte_rom_pre.add(gdstk.Label('Z', (13.76,8.745), layer=67, texttype=5))
smoke_rom_1kbyte_rom_pre.add(gdstk.Label('A', (0.405,8.555), layer=67, texttype=5))
smoke_rom_1kbyte_rom_pre.add(gdstk.Label('gnd', (8.92,0), layer=67, texttype=5))
smoke_rom_1kbyte_rom_pre.add(gdstk.Label('vdd', (8.92,17.48), layer=67, texttype=5))

lib.write_gds('smoke_rom_1kbyte_rom_precharge_driver.gds')
